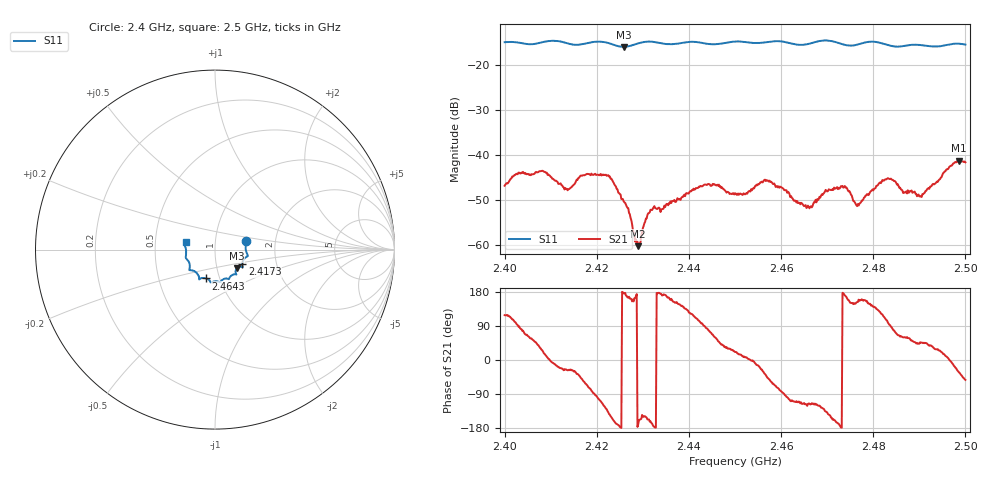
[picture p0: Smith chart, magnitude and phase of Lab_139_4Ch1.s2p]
# Hz S RI R 50
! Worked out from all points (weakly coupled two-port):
!   601 points, 2.4 GHz to 2.5 GHz, reference 50 ohm
!   highest |S21| = -41.23 dB at 2.4987 GHz (marker M1); lowest = -60.2 dB at 2.429 GHz (marker M2)
!   lowest |S11| = -15.9 dB at 2.4258 GHz (marker M3), VSWR 1.38, Z = 62.3 - j13.3 ohm
!   |S11| at or under -10 dB: start of sweep to end of sweep
!   S12 and S22 are empty: the file has one direction only
!   S11 on the Smith chart (normalised r, x): 2.4 GHz: 1.41, +0.14; 2.4173 GHz: 1.34, -0.23; 2.4643 GHz: 0.86, -0.28; 2.5 GHz: 0.72, +0.06
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2.4e9  0.1734 0.0488  -0.00216 0.00402  0 0  0 0
2.402667e9  0.1754 0.0369  -0.000406 0.00617  0 0  0 0
2.408e9  0.1777 -0.0215  0.00592 0.00303  0 0  0 0
2.4135e9  0.1703 -0.0438  0.00378 -0.00186  0 0  0 0
2.416667e9  0.1529 -0.0745  0.0039 -0.00446  0 0  0 0
2.417333e9  0.1518 -0.082  0.00313 -0.00508  0 0  0 0
2.422333e9  0.1497 -0.0949  -0.00418 -0.0042  0 0  0 0
2.425833e9  0.1215 -0.1038  -0.00305 0.000232  0 0  0 0
2.429e9  0.1154 -0.1312  -0.000955 -0.000179  0 0  0 0
2.431167e9  0.1191 -0.139  -0.00207 -0.000878  0 0  0 0
2.433333e9  0.1127 -0.1374  -0.00258 0.00013  0 0  0 0
2.443833e9  0.0642 -0.1608  0.000524 0.00463  0 0  0 0
2.45e9  0.0287 -0.181  0.00351 0.00136  0 0  0 0
2.457e9  -0.014 -0.1801  0.00362 -0.00376  0 0  0 0
2.464333e9  -0.0498 -0.1604  -0.0011 -0.00274  0 0  0 0
2.466667e9  -0.0759 -0.159  -0.00107 -0.0024  0 0  0 0
2.4735e9  -0.094 -0.1416  -0.00434 0.000349  0 0  0 0
2.476833e9  -0.1249 -0.1164  -0.00257 0.000973  0 0  0 0
2.483333e9  -0.1402 -0.0895  -0.000585 0.00545  0 0  0 0
2.49e9  -0.1629 -0.0408  0.00255 0.00238  0 0  0 0
2.498667e9  -0.1696 0.0355  0.00726 -0.00476  0 0  0 0
2.5e9  -0.1638 0.0428  0.00506 -0.0066  0 0  0 0
